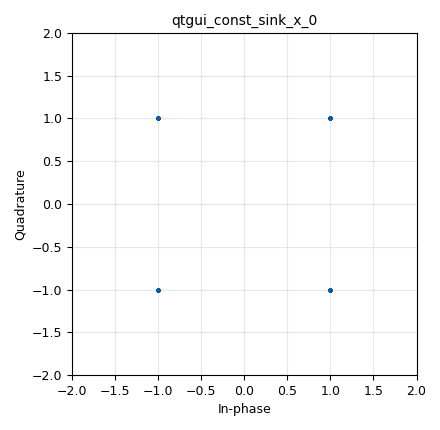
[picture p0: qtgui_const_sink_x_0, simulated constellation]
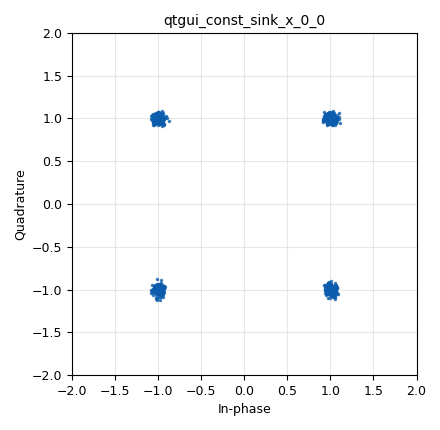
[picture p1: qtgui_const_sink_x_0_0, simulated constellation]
options:
  parameters:
    author: yabool2001
    copyright: mzemlo.pl@gmail.com
    description: 38. QPSK Signal Generation in GNU Radio-2
    generate_options: qt_gui
    id: udemy_Moazzam_38_QPSK_original
    output_language: python
    title: udemy Moazzam 38 QPSK original
  states: {}

blocks:
- name: samp_rate
  id: variable
  parameters:
    value: '32000'
  states: {}
- name: analog_noise_source_x_0
  id: analog_noise_source_x
  parameters:
    amp: '0.05'
    noise_type: analog.GR_GAUSSIAN
    seed: '0'
    type: complex
  states: {}
- name: blocks_add_const_vxx_0
  id: blocks_add_const_vxx
  parameters:
    const: '-1'
    type: float
  states: {}
- name: blocks_add_const_vxx_0_0
  id: blocks_add_const_vxx
  parameters:
    const: '-1'
    type: float
  states: {}
- name: blocks_add_xx_0
  id: blocks_add_xx
  parameters:
    type: complex
  states: {}
- name: blocks_float_to_complex_0
  id: blocks_float_to_complex
  parameters: {}
  states: {}
- name: blocks_multiply_const_vxx_0
  id: blocks_multiply_const_vxx
  parameters:
    const: '2'
    type: float
  states: {}
- name: blocks_multiply_const_vxx_0_0
  id: blocks_multiply_const_vxx
  parameters:
    const: '2'
    type: float
  states: {}
- name: blocks_vector_source_x_0
  id: blocks_vector_source_x
  parameters:
    repeat: 'True'
    type: float
    vector: ( 0 , 0 , 1 , 1 )
  states: {}
- name: blocks_vector_source_x_0_0
  id: blocks_vector_source_x
  parameters:
    repeat: 'True'
    type: float
    vector: ( 0 , 1 , 1 , 0 )
  states: {}
- name: qtgui_const_sink_x_0
  id: qtgui_const_sink_x
  parameters:
    size: '1024'
    type: complex
  states: {}
- name: qtgui_const_sink_x_0_0
  id: qtgui_const_sink_x
  parameters:
    size: '1024'
    type: complex
  states: {}

connections:
- [analog_noise_source_x_0, '0', blocks_add_xx_0, '0']
- [blocks_add_const_vxx_0, '0', blocks_float_to_complex_0, '1']
- [blocks_add_const_vxx_0_0, '0', blocks_float_to_complex_0, '0']
- [blocks_add_xx_0, '0', qtgui_const_sink_x_0_0, '0']
- [blocks_float_to_complex_0, '0', blocks_add_xx_0, '1']
- [blocks_float_to_complex_0, '0', qtgui_const_sink_x_0, '0']
- [blocks_multiply_const_vxx_0, '0', blocks_add_const_vxx_0_0, '0']
- [blocks_multiply_const_vxx_0_0, '0', blocks_add_const_vxx_0, '0']
- [blocks_vector_source_x_0, '0', blocks_multiply_const_vxx_0_0, '0']
- [blocks_vector_source_x_0_0, '0', blocks_multiply_const_vxx_0, '0']

metadata:
  file_format: 1
  grc_version: 3.10.10.0
